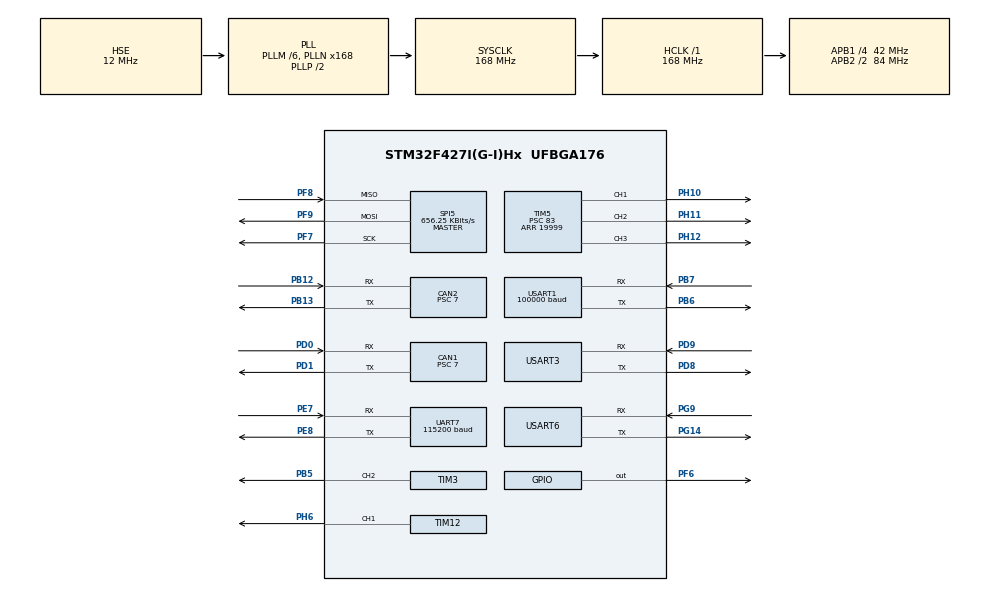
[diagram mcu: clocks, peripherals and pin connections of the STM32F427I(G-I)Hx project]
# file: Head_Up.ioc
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ADC1.Channel-0\#ChannelRegularConversion=ADC_CHANNEL_TEMPSENSOR
ADC1.NbrOfConversionFlag=1
ADC1.Rank-0\#ChannelRegularConversion=1
ADC1.SamplingTime-0\#ChannelRegularConversion=ADC_SAMPLETIME_3CYCLES
ADC1.master=1
CAN1.ABOM=ENABLE
CAN1.AWUM=ENABLE
CAN1.BS1=CAN_BS1_3TQ
CAN1.BS2=CAN_BS2_2TQ
CAN1.CalculateBaudRate=999999
CAN1.CalculateTimeQuantum=166.66666666666669
CAN1.NART=ENABLE
CAN1.Prescaler=7
CAN2.ABOM=ENABLE
CAN2.AWUM=ENABLE
CAN2.BS1=CAN_BS1_3TQ
CAN2.BS2=CAN_BS2_2TQ
CAN2.CalculateBaudRate=999999
CAN2.CalculateTimeQuantum=166.66666666666669
CAN2.NART=ENABLE
CAN2.Prescaler=7
Dma.Request0=USART1_RX
Dma.Request1=UART7_RX
Dma.Request2=USART3_RX
Dma.Request3=USART3_TX
Dma.UART7_RX.1.Direction=DMA_PERIPH_TO_MEMORY
Dma.UART7_RX.1.FIFOMode=DMA_FIFOMODE_DISABLE
Dma.UART7_RX.1.Instance=DMA1_Stream3
Dma.UART7_RX.1.MemDataAlignment=DMA_MDATAALIGN_BYTE
Dma.UART7_RX.1.MemInc=DMA_MINC_ENABLE
Dma.UART7_RX.1.Mode=DMA_CIRCULAR
Dma.UART7_RX.1.PeriphDataAlignment=DMA_PDATAALIGN_BYTE
Dma.UART7_RX.1.PeriphInc=DMA_PINC_DISABLE
Dma.UART7_RX.1.Priority=DMA_PRIORITY_MEDIUM
Dma.USART1_RX.0.Direction=DMA_PERIPH_TO_MEMORY
Dma.USART1_RX.0.FIFOMode=DMA_FIFOMODE_DISABLE
Dma.USART1_RX.0.Instance=DMA2_Stream2
Dma.USART1_RX.0.MemDataAlignment=DMA_MDATAALIGN_BYTE
Dma.USART1_RX.0.MemInc=DMA_MINC_ENABLE
Dma.USART1_RX.0.Mode=DMA_CIRCULAR
Dma.USART1_RX.0.PeriphDataAlignment=DMA_PDATAALIGN_BYTE
Dma.USART1_RX.0.PeriphInc=DMA_PINC_DISABLE
Dma.USART1_RX.0.Priority=DMA_PRIORITY_VERY_HIGH
Dma.USART3_RX.2.Direction=DMA_PERIPH_TO_MEMORY
Dma.USART3_RX.2.FIFOMode=DMA_FIFOMODE_DISABLE
Dma.USART3_RX.2.Instance=DMA1_Stream1
Dma.USART3_RX.2.MemDataAlignment=DMA_MDATAALIGN_BYTE
Dma.USART3_RX.2.MemInc=DMA_MINC_ENABLE
Dma.USART3_RX.2.Mode=DMA_CIRCULAR
Dma.USART3_RX.2.PeriphDataAlignment=DMA_PDATAALIGN_BYTE
Dma.USART3_RX.2.PeriphInc=DMA_PINC_DISABLE
Dma.USART3_RX.2.Priority=DMA_PRIORITY_LOW
Dma.USART3_TX.3.Direction=DMA_MEMORY_TO_PERIPH
Dma.USART3_TX.3.FIFOMode=DMA_FIFOMODE_DISABLE
Dma.USART3_TX.3.Instance=DMA1_Stream4
Dma.USART3_TX.3.MemDataAlignment=DMA_MDATAALIGN_BYTE
Dma.USART3_TX.3.MemInc=DMA_MINC_ENABLE
Dma.USART3_TX.3.Mode=DMA_NORMAL
Dma.USART3_TX.3.PeriphDataAlignment=DMA_PDATAALIGN_BYTE
Dma.USART3_TX.3.PeriphInc=DMA_PINC_DISABLE
Dma.USART3_TX.3.Priority=DMA_PRIORITY_LOW
FREERTOS.INCLUDE_vTaskDelayUntil=1
FREERTOS.Tasks01=All_Init,0,128,All_Init_Run,Default,NULL,Dynamic,NULL,NULL
Mcu.Family=STM32F4
Mcu.Name=STM32F427I(G-I)Hx
Mcu.Package=UFBGA176
NVIC.CAN1_RX0_IRQn=true\:6\:0\:true\:false\:true\:false\:true\:true\:true
NVIC.CAN2_RX0_IRQn=true\:5\:0\:false\:false\:true\:false\:true\:true\:true
NVIC.DMA1_Stream1_IRQn=true\:5\:0\:false\:false\:true\:true\:false\:true\:true
NVIC.DMA1_Stream3_IRQn=true\:5\:0\:false\:false\:true\:true\:false\:true\:true
NVIC.DMA1_Stream4_IRQn=true\:5\:0\:false\:false\:true\:true\:false\:true\:true
NVIC.DMA2_Stream2_IRQn=true\:5\:0\:false\:false\:true\:true\:false\:true\:true
NVIC.PriorityGroup=NVIC_PRIORITYGROUP_4
NVIC.TIM2_IRQn=true\:5\:0\:false\:false\:true\:false\:true\:true\:true
NVIC.TIM4_IRQn=true\:5\:0\:false\:false\:true\:true\:true\:true\:true
NVIC.TIM6_DAC_IRQn=true\:0\:0\:false\:false\:true\:false\:false\:true\:true
NVIC.TimeBase=TIM6_DAC_IRQn
NVIC.TimeBaseIP=TIM6
NVIC.UART7_IRQn=true\:5\:0\:false\:false\:true\:true\:true\:true\:true
NVIC.USART1_IRQn=true\:5\:0\:true\:false\:true\:false\:true\:true\:true
NVIC.USART3_IRQn=true\:5\:0\:false\:false\:true\:true\:true\:true\:true
PA13.Mode=Serial_Wire
PA13.Signal=SYS_JTMS-SWDIO
PA14.Mode=Serial_Wire
PA14.Signal=SYS_JTCK-SWCLK
PB12.Mode=CAN_Activate
PB12.Signal=CAN2_RX
PB13.Mode=CAN_Activate
PB13.Signal=CAN2_TX
PB5.Signal=S_TIM3_CH2
PB6.Mode=Asynchronous
PB6.Signal=USART1_TX
PB7.Mode=Asynchronous
PB7.Signal=USART1_RX
PD0.Mode=CAN_Activate
PD0.Signal=CAN1_RX
PD1.Mode=CAN_Activate
PD1.Signal=CAN1_TX
PD8.Mode=Asynchronous
PD8.Signal=USART3_TX
PD9.Mode=Asynchronous
PD9.Signal=USART3_RX
PE7.Mode=Asynchronous
PE7.Signal=UART7_RX
PE8.Mode=Asynchronous
PE8.Signal=UART7_TX
PF6.Signal=GPIO_Output
PF7.Mode=Full_Duplex_Master
PF7.Signal=SPI5_SCK
PF8.Mode=Full_Duplex_Master
PF8.Signal=SPI5_MISO
PF9.Mode=Full_Duplex_Master
PF9.Signal=SPI5_MOSI
PG14.Mode=Asynchronous
PG14.Signal=USART6_TX
PG9.Mode=Asynchronous
PG9.Signal=USART6_RX
PH0/OSC_IN.Mode=HSE-External-Oscillator
PH0/OSC_IN.Signal=RCC_OSC_IN
PH1/OSC_OUT.Mode=HSE-External-Oscillator
PH1/OSC_OUT.Signal=RCC_OSC_OUT
PH10.Signal=S_TIM5_CH1
PH11.Signal=S_TIM5_CH2
PH12.Signal=S_TIM5_CH3
PH6.Signal=S_TIM12_CH1
ProjectManager.HeapSize=0x200
ProjectManager.StackSize=0x400
ProjectManager.TargetToolchain=MDK-ARM V5.27
RCC.48MHZClocksFreq_Value=84000000
RCC.AHBFreq_Value=168000000
RCC.APB1CLKDivider=RCC_HCLK_DIV4
RCC.APB1Freq_Value=42000000
RCC.APB1TimFreq_Value=84000000
RCC.APB2CLKDivider=RCC_HCLK_DIV2
RCC.APB2Freq_Value=84000000
RCC.APB2TimFreq_Value=168000000
RCC.CortexFreq_Value=168000000
RCC.HCLKFreq_Value=168000000
RCC.HSE_VALUE=12000000
RCC.HSI_VALUE=16000000
RCC.LSE_VALUE=32768
RCC.PLLM=6
RCC.PLLN=168
RCC.PLLSourceVirtual=RCC_PLLSOURCE_HSE
RCC.SYSCLKFreq_VALUE=168000000
RCC.SYSCLKSource=RCC_SYSCLKSOURCE_PLLCLK
RCC.VCOOutputFreq_Value=336000000
SH.S_TIM12_CH1.0=TIM12_CH1,PWM Generation1 CH1
SH.S_TIM3_CH2.0=TIM3_CH2,PWM Generation2 CH2
SH.S_TIM5_CH1.0=TIM5_CH1,PWM Generation1 CH1
SH.S_TIM5_CH2.0=TIM5_CH2,PWM Generation2 CH2
SH.S_TIM5_CH3.0=TIM5_CH3,PWM Generation3 CH3
SPI5.BaudRatePrescaler=SPI_BAUDRATEPRESCALER_128
SPI5.CalculateBaudRate=656.25 KBits/s
SPI5.Direction=SPI_DIRECTION_2LINES
SPI5.Mode=SPI_MODE_MASTER
SPI5.VirtualType=VM_MASTER
TIM12.Channel-PWM\ Generation1\ CH1=TIM_CHANNEL_1
TIM12.Period=2499
TIM12.Prescaler=83
TIM12.Pulse-PWM\ Generation1\ CH1=1000
TIM2.AutoReloadPreload=TIM_AUTORELOAD_PRELOAD_ENABLE
TIM2.Period=49
TIM2.Prescaler=8399
TIM3.Channel-PWM\ Generation2\ CH2=TIM_CHANNEL_2
TIM3.Period=4399
TIM4.Period=9999
TIM4.Prescaler=839
TIM5.Channel-PWM\ Generation1\ CH1=TIM_CHANNEL_1
TIM5.Channel-PWM\ Generation2\ CH2=TIM_CHANNEL_2
TIM5.Channel-PWM\ Generation3\ CH3=TIM_CHANNEL_3
TIM5.Period=19999
TIM5.Prescaler=83
TIM5.Pulse-PWM\ Generation1\ CH1=1000
TIM5.Pulse-PWM\ Generation2\ CH2=1000
TIM5.Pulse-PWM\ Generation3\ CH3=1720
UART7.BaudRate=115200
UART7.VirtualMode=Asynchronous
USART1.BaudRate=100000
USART1.VirtualMode=VM_ASYNC
USART3.VirtualMode=VM_ASYNC
USART6.VirtualMode=VM_ASYNC
VP_ADC1_TempSens_Input.Mode=IN-TempSens
VP_FREERTOS_VS_CMSIS_V1.Mode=CMSIS_V1
VP_SYS_VS_tim6.Mode=TIM6
VP_TIM12_VS_ClockSourceINT.Mode=Internal
VP_TIM2_VS_ClockSourceINT.Mode=Internal
VP_TIM3_VS_ClockSourceINT.Mode=Internal
VP_TIM4_VS_ClockSourceINT.Mode=Internal
VP_TIM5_VS_ClockSourceINT.Mode=Internal
board=custom

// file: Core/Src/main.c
/* USER CODE BEGIN Header */
/**
  ******************************************************************************
  * @file           : main.c
  * @brief          : Main program body
  ******************************************************************************
  * @attention
  *
  * <h2><center>&copy; Copyright (c) 2022 STMicroelectronics.
  * All rights reserved.</center></h2>
  *
  * This software component is licensed by ST under Ultimate Liberty license
  * SLA0044, the "License"; You may not use this file except in compliance with
  * the License. You may obtain a copy of the License at:
  *                             www.st.com/SLA0044
  *
  ******************************************************************************
  */
/* USER CODE END Header */
#include "main.h"
#include "cmsis_os.h"
#include "adc.h"
#include "can.h"
#include "dma.h"
#include "spi.h"
#include "tim.h"
#include "usart.h"
#include "gpio.h"

void SystemClock_Config(void);
void MX_FREERTOS_Init(void);

int main(void)
{

  /* MCU Configuration--------------------------------------------------------*/

  /* Reset of all peripherals, Initializes the Flash interface and the Systick. */
  HAL_Init();

  /* Configure the system clock */
  SystemClock_Config();

  /* Initialize all configured peripherals */
  MX_GPIO_Init();
  MX_DMA_Init();
  MX_ADC1_Init();
  MX_CAN1_Init();
  MX_CAN2_Init();
  MX_SPI5_Init();
  MX_TIM2_Init();
  MX_TIM3_Init();
  MX_USART1_UART_Init();
  MX_USART6_UART_Init();
  MX_TIM5_Init();
  MX_UART7_Init();
  MX_TIM12_Init();
  MX_TIM4_Init();
  MX_USART3_UART_Init();

  /* Call init function for freertos objects (in freertos.c) */
  MX_FREERTOS_Init();

  /* Start scheduler */
  osKernelStart();

  /* We should never get here as control is now taken by the scheduler */
  /* Infinite loop */
  while (1)
  {

  }
}

void SystemClock_Config(void)
{
  RCC_OscInitTypeDef RCC_OscInitStruct = {0};
  RCC_ClkInitTypeDef RCC_ClkInitStruct = {0};

  /** Configure the main internal regulator output voltage
  */
  __HAL_RCC_PWR_CLK_ENABLE();
  __HAL_PWR_VOLTAGESCALING_CONFIG(PWR_REGULATOR_VOLTAGE_SCALE1);

  /** Initializes the RCC Oscillators according to the specified parameters
  * in the RCC_OscInitTypeDef structure.
  */
  RCC_OscInitStruct.OscillatorType = RCC_OSCILLATORTYPE_HSE;
  RCC_OscInitStruct.HSEState = RCC_HSE_ON;
  RCC_OscInitStruct.PLL.PLLState = RCC_PLL_ON;
  RCC_OscInitStruct.PLL.PLLSource = RCC_PLLSOURCE_HSE;
  RCC_OscInitStruct.PLL.PLLM = 6;
  RCC_OscInitStruct.PLL.PLLN = 168;
  RCC_OscInitStruct.PLL.PLLP = RCC_PLLP_DIV2;
  RCC_OscInitStruct.PLL.PLLQ = 4;
  if (HAL_RCC_OscConfig(&RCC_OscInitStruct) != HAL_OK)
  {
    Error_Handler();
  }

  /** Initializes the CPU, AHB and APB buses clocks
  */
  RCC_ClkInitStruct.ClockType = RCC_CLOCKTYPE_HCLK|RCC_CLOCKTYPE_SYSCLK
                              |RCC_CLOCKTYPE_PCLK1|RCC_CLOCKTYPE_PCLK2;
  RCC_ClkInitStruct.SYSCLKSource = RCC_SYSCLKSOURCE_PLLCLK;
  RCC_ClkInitStruct.AHBCLKDivider = RCC_SYSCLK_DIV1;
  RCC_ClkInitStruct.APB1CLKDivider = RCC_HCLK_DIV4;
  RCC_ClkInitStruct.APB2CLKDivider = RCC_HCLK_DIV2;

  if (HAL_RCC_ClockConfig(&RCC_ClkInitStruct, FLASH_LATENCY_5) != HAL_OK)
  {
    Error_Handler();
  }
}

void HAL_TIM_PeriodElapsedCallback(TIM_HandleTypeDef *htim)
{
  if (htim->Instance == TIM6) {
    HAL_IncTick();
  }
}

void Error_Handler(void)
{
}

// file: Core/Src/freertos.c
/* USER CODE BEGIN Header */
/**
  ******************************************************************************
  * File Name          : freertos.c
  * Description        : Code for freertos applications
  ******************************************************************************
  * @attention
  *
  * <h2><center>&copy; Copyright (c) 2022 STMicroelectronics.
  * All rights reserved.</center></h2>
  *
  * This software component is licensed by ST under Ultimate Liberty license
  * SLA0044, the "License"; You may not use this file except in compliance with
  * the License. You may obtain a copy of the License at:
  *                             www.st.com/SLA0044
  *
  ******************************************************************************
  */
/* USER CODE END Header */

#include "FreeRTOS.h"
#include "task.h"
#include "main.h"
#include "cmsis_os.h"

/* USER CODE BEGIN Includes */
#include "can.h"
#include "BSP_CAN.h"
#include "tim.h"
#include "Task_CanMsg.h"
#include "IMU_Compensate.h"
#include "DJI_IMU.h"
#include "Chassis_control.h"
#include "DR16_Remote.h"
#include "typedef.h"
#include "Shot.h"
#include "Control_Vision.h"
#include "Cloud_control.h"
#include "DEV_Buzzer.h"
#include "RM_JudgeSystem.h"
/* USER CODE END Includes */

/* USER CODE BEGIN Variables */
//Message
osMessageQId CAN1_ReceiveHandle;
osMessageQId CAN2_ReceiveHandle;
//Task
osThreadId CAN1_TaskHandle;
osThreadId CAN2_TaskHandle;
osThreadId IMU_ReceiveHandle;
osThreadId Task_ControlHandle;
osThreadId Host_Handle;
osThreadId Check_Handle;
/* USER CODE END Variables */
osThreadId All_InitHandle;
osThreadId RMClientUI_Handle;
/* USER CODE BEGIN FunctionPrototypes */
extern void CAN1_REC(void const * argument);
extern void CAN2_REC(void const * argument);
extern void IMU_Receive_Run(void const * argument);
extern void RobotControl(void const *argument);
extern void Host_Run(void const *argument);
extern void DEV_Check(void const *argument);
extern void RMClientUI_Send(void const *argument);
void All_Init_Run(void const * argument);
/* USER CODE END FunctionPrototypes */

void All_Init_Run(void const * argument);

void MX_FREERTOS_Init(void); /* (MISRA C 2004 rule 8.1) */

/* GetIdleTaskMemory prototype (linked to static allocation support) */
void vApplicationGetIdleTaskMemory( StaticTask_t **ppxIdleTaskTCBBuffer, StackType_t **ppxIdleTaskStackBuffer, uint32_t *pulIdleTaskStackSize );

/* USER CODE BEGIN GET_IDLE_TASK_MEMORY */
static StaticTask_t xIdleTaskTCBBuffer;
static StackType_t xIdleStack[configMINIMAL_STACK_SIZE];

void vApplicationGetIdleTaskMemory( StaticTask_t **ppxIdleTaskTCBBuffer, StackType_t **ppxIdleTaskStackBuffer, uint32_t *pulIdleTaskStackSize )
{
  *ppxIdleTaskTCBBuffer = &xIdleTaskTCBBuffer;
  *ppxIdleTaskStackBuffer = &xIdleStack[0];
  *pulIdleTaskStackSize = configMINIMAL_STACK_SIZE;
  /* place for user code */
}
/* USER CODE END GET_IDLE_TASK_MEMORY */

void MX_FREERTOS_Init(void) {

  /* USER CODE BEGIN RTOS_QUEUES */
  /* add queues, ... */
	osMessageQDef(CAN1_Receive, 64, Can_Export_Data_t);
  CAN1_ReceiveHandle = osMessageCreate(osMessageQ(CAN1_Receive), NULL);

	osMessageQDef(CAN2_Receive, 64, Can_Export_Data_t);
  CAN2_ReceiveHandle = osMessageCreate(osMessageQ(CAN2_Receive), NULL);
  /* USER CODE END RTOS_QUEUES */

  /* Create the thread(s) */
  /* definition and creation of All_Init */
  osThreadDef(All_Init, All_Init_Run, osPriorityNormal, 0, 128);
  All_InitHandle = osThreadCreate(osThread(All_Init), NULL);

  /* USER CODE BEGIN RTOS_THREADS */
  /* add threads, ... */
	osThreadDef(CAN1_Task, CAN1_REC, osPriorityHigh, 0, 256);
  CAN1_TaskHandle = osThreadCreate(osThread(CAN1_Task), NULL);

	osThreadDef(CAN2_Task, CAN2_REC, osPriorityHigh, 0, 256);
  CAN2_TaskHandle = osThreadCreate(osThread(CAN2_Task), NULL);

	osThreadDef(IMU_Receive, IMU_Receive_Run, osPriorityNormal, 0, 256);
  IMU_ReceiveHandle = osThreadCreate(osThread(IMU_Receive), NULL);

	osThreadDef(Host_send, Host_Run, osPriorityBelowNormal, 0, 256);
  Host_Handle = osThreadCreate(osThread(Host_send), NULL);

	osThreadDef(Check_Task, DEV_Check, osPriorityNormal, 0, 256);
  Check_Handle = osThreadCreate(osThread(Check_Task), NULL);

	osThreadDef(RMClientUI_Task, RMClientUI_Send, osPriorityNormal, 0, 256);
  RMClientUI_Handle = osThreadCreate(osThread(RMClientUI_Task), NULL);
  /* USER CODE END RTOS_THREADS */

}

void All_Init_Run(void const * argument)
{
  /* USER CODE BEGIN All_Init_Run */
  /* Infinite loop */
	taskENTER_CRITICAL();   //进入临界区
	HAL_TIM_Base_Start_IT(&htim2);  //定时器初始化
	HAL_TIM_Base_Start_IT(&htim4);
	HAL_TIM_Base_Start_IT(&htim5);
	HAL_TIM_Base_Start_IT(&htim12);
	HAL_TIM_PWM_Start(&htim5,TIM_CHANNEL_3); //定时器PWM输出初始化
	__HAL_TIM_SetCompare(&htim5, TIM_CHANNEL_3, 630);

	CAN_1_Filter_Config();      //CAN过滤器初始化
	CAN_2_Filter_Config();
	__HAL_CAN_ENABLE_IT(&hcan1, CAN_IT_RX_FIFO0_MSG_PENDING); //  CAN_IT_FMP0
	__HAL_CAN_ENABLE_IT(&hcan2, CAN_IT_RX_FIFO0_MSG_PENDING); //  CAN_IT_FMP0
	dbus_uart_init();   //dbus初始化
	Control_Vision_FUN.Vision_USART_Receive_DMA(&huart7);
	Control_Vision_FUN.Vision_Init();
	JudgeSystem_FUN.JudgeSystem_USART_Receive_DMA(&huart3);
	/*********************************临界区保护***************************************/
	//DJI_IMUFUN.DJI_IMU_Init();
	Robot_Init(); //机器人整体初始化
	Chassis_Init(); //底盘初始化
	osThreadDef(Task_Control, RobotControl, osPriorityRealtime, 0, 600);
  Task_ControlHandle = osThreadCreate(osThread(Task_Control), NULL);
  vTaskDelete(NULL);                    //删除当前任务。
  taskEXIT_CRITICAL();                  //退出临界区
	/*********************************************************************************/
  /* USER CODE END All_Init_Run */
}
